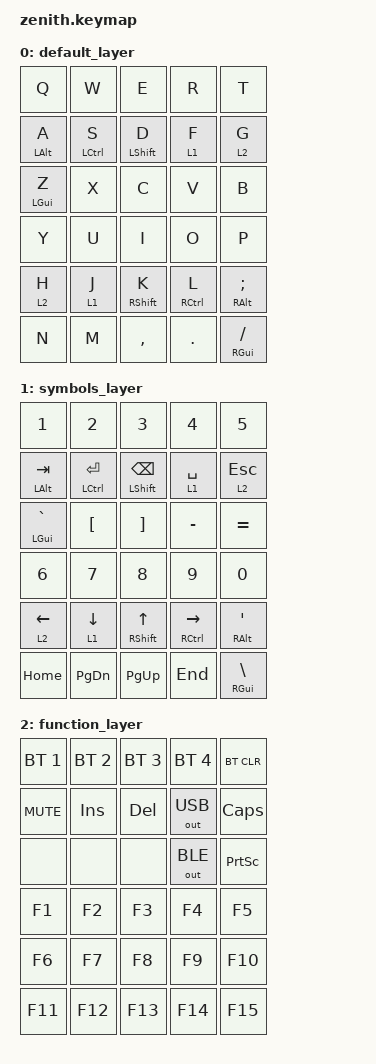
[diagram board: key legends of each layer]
#include <behaviors.dtsi>
#include <dt-bindings/zmk/keys.h>
#include <dt-bindings/zmk/bt.h>
#include <dt-bindings/zmk/outputs.h>

/ {
    behaviors {
        hm: homerow_mods {
            compatible = "zmk,behavior-hold-tap";
            label = "HOMEROW_MODS";
            #binding-cells = <2>;
            flavor = "balanced";
            tapping-term-ms = <800>;
            quick-tap-ms = <800>;
            bindings = <&kp>, <&kp>;
        };
        hl: homerow_layers {
            compatible = "zmk,behavior-hold-tap";
            label = "HOMEROW_LAYERS";
            #binding-cells = <2>;
            flavor = "balanced";
            tapping-term-ms = <800>;
            quick-tap-ms = <800>;
            bindings = <&mo>, <&kp>;
        };
    };

    keymap {
        compatible = "zmk,keymap";

        default_layer {
            bindings = <
    &kp Q      &kp W       &kp E        &kp R       &kp T
    &hm LALT A &hm LCTRL S &hm LSHIFT D &hl 1 F     &hl 2 G
    &hm LGUI Z &kp X       &kp C        &kp V       &kp B
    &kp Y      &kp U       &kp I        &kp O       &kp P
    &hl 2 H    &hl 1 J     &hm RSHIFT K &hm RCTRL L &hm RALT SEMI
    &kp N      &kp M       &kp COMMA    &kp DOT     &hm RGUI FSLH
            >;
        };

        symbols_layer {
            bindings = <
    &kp N1         &kp N2        &kp N3          &kp N4          &kp N5
    &hm LALT TAB   &hm LCTRL RET &hm LSHIFT BSPC &hl 1 SPACE     &hl 2 ESC
    &hm LGUI GRAVE &kp LBKT      &kp RBKT        &kp MINUS       &kp EQUAL
    &kp N6         &kp N7        &kp N8          &kp N9          &kp N0
    &hl 2 LEFT     &hl 1 DOWN    &hm RSHIFT UP   &hm RCTRL RIGHT &hm RALT SQT
    &kp HOME       &kp PG_DN     &kp PG_UP       &kp END         &hm RGUI BSLH
            >;
        };

        function_layer {
            bindings = <
    &bt BT_SEL 1 &bt BT_SEL 2 &bt BT_SEL 3 &bt BT_SEL 4 &bt BT_CLR
    &kp K_MUTE   &kp INS      &kp DEL      &out OUT_USB &kp CAPS
    &none        &none        &none        &out OUT_BLE &kp PSCRN
    &kp F1       &kp F2       &kp F3       &kp F4       &kp F5
    &kp F6       &kp F7       &kp F8       &kp F9       &kp F10
    &kp F11      &kp F12      &kp F13      &kp F14      &kp F15
            >;
        };
    };
};
